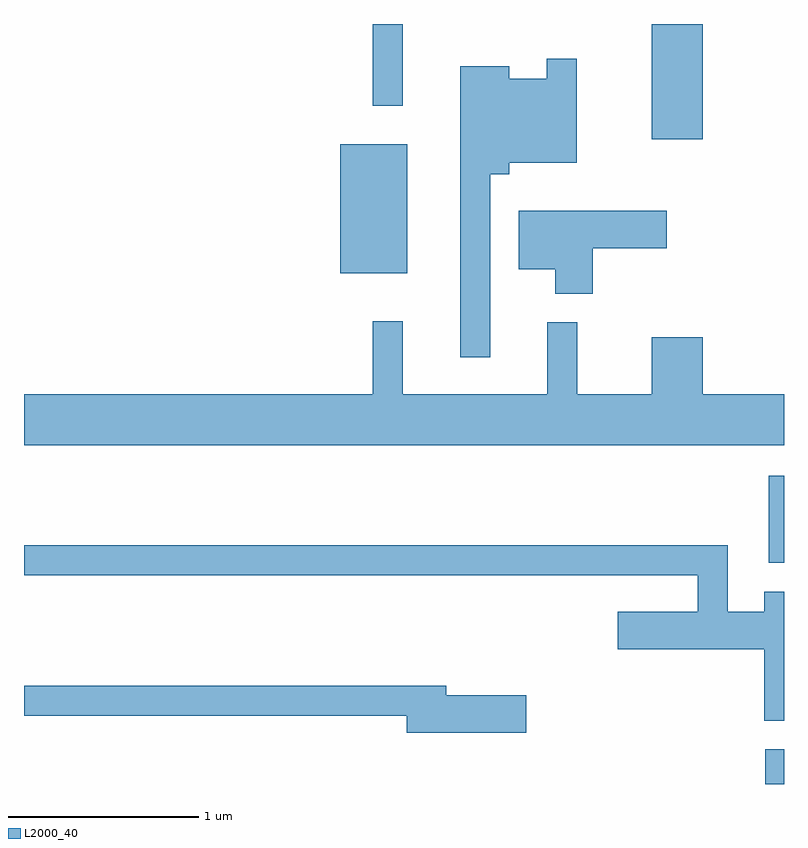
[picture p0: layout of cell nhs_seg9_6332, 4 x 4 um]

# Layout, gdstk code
import gdstk
lib = gdstk.Library(unit=1e-6, precision=1e-09)
def R(c, l, rs):  # rectangles x0, y0, x1, y1
    for r in rs: c.add(gdstk.rectangle(r[:2], r[2:], *l))
def P(c, l, *ps):  # polygons
    for p in ps: c.add(gdstk.Polygon(p, *l))
L2000_40 = (2000, 40)

nhs_seg9_6332 = lib.new_cell('nhs_seg9_6332')
R(nhs_seg9_6332, L2000_40, [(375.511,2034.432,375.611,2034.614), (375.531,2035.596,375.611,2036.054), (373.276,2037.121,373.629,2037.799), (374.916,2037.826,375.184,2038.432), (373.446,2038.003,373.604,2038.432)])
P(nhs_seg9_6332, L2000_40, [(374.064,2037.641),(374.164,2037.641),(374.164,2037.701),(374.519,2037.701),(374.519,2038.248),(374.361,2038.248),(374.361,2038.144),(374.164,2038.144),(374.164,2038.209),(373.906,2038.209),(373.906,2036.678),(374.064,2036.678)],
  [(374.604,2037.251),(374.994,2037.251),(374.994,2037.449),(374.216,2037.449),(374.216,2037.141),(374.406,2037.141),(374.406,2037.011),(374.604,2037.011)],
  [(375.611,2036.484),(375.184,2036.484),(375.184,2036.784),(374.916,2036.784),(374.916,2036.484),(374.524,2036.484),(374.524,2036.863),(374.366,2036.863),(374.366,2036.484),(373.604,2036.484),(373.604,2036.868),(373.446,2036.868),(373.446,2036.484),(371.611,2036.484),(371.611,2036.216),(375.611,2036.216)],
  [(375.611,2035.444),(375.506,2035.444),(375.506,2035.339),(375.314,2035.339),(375.314,2035.689),(371.611,2035.689),(371.611,2035.531),(375.156,2035.531),(375.156,2035.339),(374.736,2035.339),(374.736,2035.141),(375.506,2035.141),(375.506,2034.766),(375.611,2034.766)],
  [(374.254,2034.899),(373.834,2034.899),(373.834,2034.949),(371.611,2034.949),(371.611,2034.791),(373.626,2034.791),(373.626,2034.701),(374.254,2034.701)])

lib.write_gds('nhs_seg9_6332.gds')
